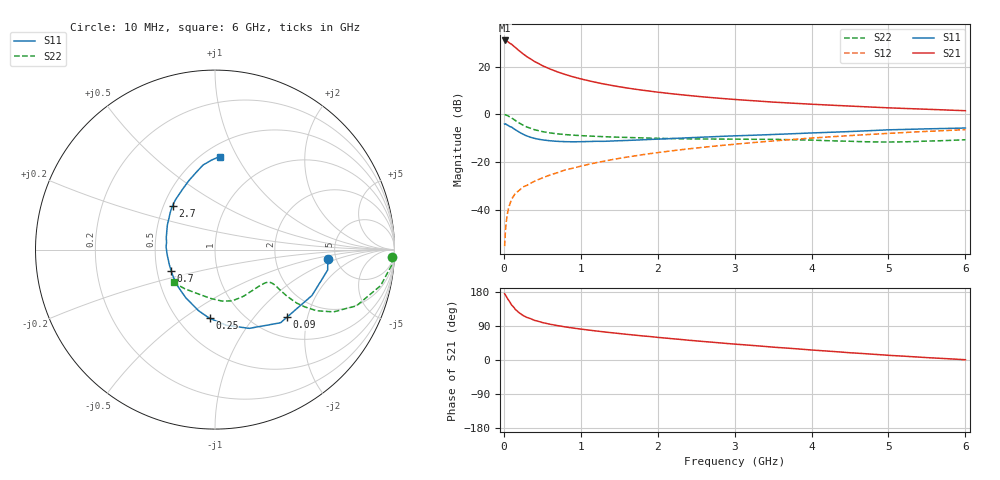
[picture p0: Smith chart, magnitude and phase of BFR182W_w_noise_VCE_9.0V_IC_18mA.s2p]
! Infineon Technologies  Discrete & RF Semiconductors
! BFR182W
! VCE =  9.0 V,  IC =  18 mA
! Common Emitter S-Parameters:  Jan 2017
# GHz  S  MA  R  50
!  f  S11  S21  S12  S22
! GHz  MAG  ANG  MAG  ANG  MAG  ANG  MAG  ANG
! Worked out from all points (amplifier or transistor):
!   77 points, 10 MHz to 6 GHz, reference 50 ohm
!   highest |S21| = 31.1 dB at 10 MHz (marker M1)
!   |S21| within 3 dB of that: start of sweep to 151.3 MHz
!   unconditionally stable (mu >= 1): 878.4 MHz to 2.455 GHz
!   at 130 MHz: K = 0.40, MSG = 31.4 dB, |S12| = -34.2 dB
!   at 2.2 GHz: K = 1.01, MAG = 11.2 dB, |S12| = -15.2 dB
!   at 6 GHz: K = 0.86, MSG = 4.0 dB, |S12| = -6.4 dB
!   lowest NFmin = 1.34 dB at 450 MHz
!   S11 on the Smith chart (normalised r, x): 10 MHz: 4.27, -0.78; 90 MHz: 1.39, -1.50; 250 MHz: 0.71, -0.63; 700 MHz: 0.59, -0.15; 2.7 GHz: 0.56, +0.31; 6 GHz: 0.60, +0.85
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0.01  0.6312 -5.0  36.04 175.1  0.0017 82.8  0.9871 -2.3
0.02  0.6379 -10.3  35.92 171.8  0.0034 90.2  0.9876 -5.1
0.05  0.5978 -25.3  34.09 161.1  0.0089 76.0  0.9445 -12.3
0.09  0.55 -43.3  30.64 148.9  0.0148 71.9  0.8651 -19.7
0.1  0.5473 -48.1  30.02 145.5  0.0163 71.3  0.8477 -21.7
0.15  0.4785 -66.5  25.62 133.5  0.0219 66.1  0.7464 -27.7
0.2  0.4259 -81.6  21.84 124.5  0.0254 64.9  0.6617 -31.0
0.25  0.384 -94.5  18.86 117.5  0.03 63.5  0.5957 -32.5
0.3  0.3534 -104.8  16.39 112.3  0.0323 64.1  0.5446 -33.2
0.4  0.3142 -121.1  12.98 104.5  0.0396 65.4  0.4775 -32.9
0.5  0.2925 -134.2  10.67 98.9  0.0463 66.1  0.4362 -32.1
0.6  0.2798 -144.8  9.056 94.4  0.0533 67.6  0.4093 -31.3
0.7  0.272 -153.6  7.841 90.7  0.0599 68.8  0.3911 -30.7
0.9  0.2664 -167.5  6.185 84.3  0.0744 69.5  0.3676 -30.5
1.1  0.2697 -178.7  5.132 79.1  0.0893 70.0  0.3528 -31.1
1.5  0.2808 165.1  3.832 69.9  0.119 69.3  0.3324 -34.4
2.1  0.3075 147.2  2.827 57.9  0.1656 66.7  0.3129 -43.8
2.7  0.3395 134.1  2.265 47.1  0.2126 62.9  0.3046 -56.0
3.1  0.3595 126.1  2.018 40.5  0.2449 60.0  0.3019 -64.1
4.1  0.4141 109.9  1.614 25.0  0.327 51.7  0.2852 -84.6
5.1  0.4799 96.9  1.36 11.2  0.4087 42.4  0.2644 -114.3
6  0.5192 87.1  1.201 0.7  0.4795 33.4  0.2946 -141.6
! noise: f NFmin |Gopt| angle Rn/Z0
0.45  1.34  0.07  174  0.15
0.9  1.41  0.08  179  0.15
1.9  1.93  0.27  -144  0.15
2.4  2.18  0.27  -129  0.24
